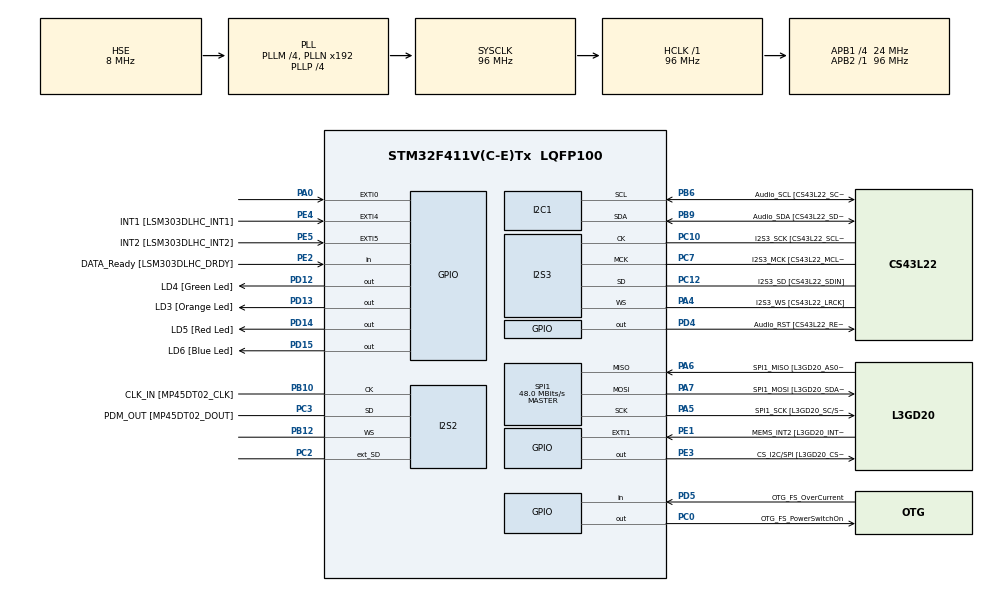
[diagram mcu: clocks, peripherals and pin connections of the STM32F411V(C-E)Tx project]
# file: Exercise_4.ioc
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FREERTOS.INCLUDE_vTaskDelayUntil=1
FREERTOS.Tasks01=Blue_Green_Task,1,128,Start_Blue_Green_Task,Default,NULL,Dynamic,NULL,NULL;Orange_Red_Task,0,128,Start_Orange_Red_Task,Default,NULL,Dynamic,NULL,NULL
I2S2.AudioFreq=I2S_AUDIOFREQ_96K
I2S2.ErrorAudioFreq=0.15 %
I2S2.FullDuplexMode=I2S_FULLDUPLEXMODE_ENABLE
I2S2.Instance=SPI$Index
I2S2.RealAudioFreq=96.153 KHz
I2S2.VirtualMode=I2S_MODE_MASTER
I2S3.AudioFreq=I2S_AUDIOFREQ_96K
I2S3.ErrorAudioFreq=-6.99 %
I2S3.FullDuplexMode=I2S_FULLDUPLEXMODE_DISABLE
I2S3.Instance=SPI$Index
I2S3.RealAudioFreq=89.285 KHz
I2S3.VirtualMode=I2S_MODE_MASTER
Mcu.Family=STM32F4
Mcu.Name=STM32F411V(C-E)Tx
Mcu.Package=LQFP100
NVIC.PriorityGroup=NVIC_PRIORITYGROUP_4
NVIC.TIM1_UP_TIM10_IRQn=true\:0\:0\:false\:false\:true\:false\:false\:true
NVIC.TimeBase=TIM1_UP_TIM10_IRQn
NVIC.TimeBaseIP=TIM1
PA0-WKUP.GPIO_ModeDefaultEXTI=GPIO_MODE_EVT_RISING
PA0-WKUP.Signal=GPXTI0
PA10.GPIO_Label=OTG_FS_ID
PA10.Signal=USB_OTG_FS_ID
PA11.GPIO_Label=OTG_FS_DM
PA11.Signal=USB_OTG_FS_DM
PA12.GPIO_Label=OTG_FS_DP
PA12.Signal=USB_OTG_FS_DP
PA13.GPIO_Label=SWDIO
PA13.Mode=Serial_Wire
PA13.Signal=SYS_JTMS-SWDIO
PA14.GPIO_Label=SWCLK
PA14.Mode=Serial_Wire
PA14.Signal=SYS_JTCK-SWCLK
PA4.GPIO_Label=I2S3_WS [CS43L22_LRCK]
PA4.GPIO_Mode=GPIO_MODE_AF_PP
PA4.GPIO_PuPd=GPIO_NOPULL
PA4.GPIO_Speed=GPIO_SPEED_FREQ_LOW
PA4.Mode=Half_Duplex_Master
PA4.Signal=I2S3_WS
PA5.GPIO_Label=SPI1_SCK [L3GD20_SC/SPC]
PA5.Mode=Full_Duplex_Master
PA5.Signal=SPI1_SCK
PA6.GPIO_Label=SPI1_MISO [L3GD20_AS0/SDO]
PA6.Mode=Full_Duplex_Master
PA6.Signal=SPI1_MISO
PA7.GPIO_Label=SPI1_MOSI [L3GD20_SDA/SDI/SDO]
PA7.Mode=Full_Duplex_Master
PA7.Signal=SPI1_MOSI
PA9.GPIO_Label=VBUS_FS
PA9.Signal=USB_OTG_FS_VBUS
PB10.GPIO_Label=CLK_IN [MP45DT02_CLK]
PB10.Mode=Full_Duplex_Master
PB10.Signal=I2S2_CK
PB12.Mode=Full_Duplex_Master
PB12.Signal=I2S2_WS
PB3.GPIO_Label=SWO
PB3.Signal=SYS_JTDO-SWO
PB6.GPIO_Label=Audio_SCL [CS43L22_SCL]
PB6.GPIO_Mode=GPIO_MODE_AF_OD
PB6.GPIO_PuPd=GPIO_NOPULL
PB6.GPIO_Speed=GPIO_SPEED_FREQ_LOW
PB6.Mode=I2C
PB6.Signal=I2C1_SCL
PB9.GPIO_Label=Audio_SDA [CS43L22_SDA]
PB9.GPIO_Mode=GPIO_MODE_AF_OD
PB9.GPIO_PuPd=GPIO_NOPULL
PB9.GPIO_Speed=GPIO_SPEED_FREQ_LOW
PB9.Mode=I2C
PB9.Signal=I2C1_SDA
PC0.GPIO_Label=OTG_FS_PowerSwitchOn
PC0.PinState=GPIO_PIN_SET
PC0.Signal=GPIO_Output
PC10.GPIO_Label=I2S3_SCK [CS43L22_SCLK]
PC10.GPIO_Mode=GPIO_MODE_AF_PP
PC10.GPIO_PuPd=GPIO_NOPULL
PC10.GPIO_Speed=GPIO_SPEED_FREQ_LOW
PC10.Mode=Half_Duplex_Master
PC10.Signal=I2S3_CK
PC12.GPIO_Label=I2S3_SD [CS43L22_SDIN]
PC12.GPIO_Mode=GPIO_MODE_AF_PP
PC12.GPIO_PuPd=GPIO_NOPULL
PC12.GPIO_Speed=GPIO_SPEED_FREQ_LOW
PC12.Mode=Half_Duplex_Master
PC12.Signal=I2S3_SD
PC14-OSC32_IN.GPIO_Label=PC14-OSC32_IN
PC14-OSC32_IN.Mode=LSE-External-Oscillator
PC14-OSC32_IN.Signal=RCC_OSC32_IN
PC15-OSC32_OUT.GPIO_Label=PC15-OSC32_OUT
PC15-OSC32_OUT.Mode=LSE-External-Oscillator
PC15-OSC32_OUT.Signal=RCC_OSC32_OUT
PC2.Mode=Full_Duplex_Master
PC2.Signal=I2S2_ext_SD
PC3.GPIO_Label=PDM_OUT [MP45DT02_DOUT]
PC3.Mode=Full_Duplex_Master
PC3.Signal=I2S2_SD
PC7.GPIO_Label=I2S3_MCK [CS43L22_MCLK]
PC7.GPIO_Mode=GPIO_MODE_AF_PP
PC7.GPIO_PuPd=GPIO_NOPULL
PC7.GPIO_Speed=GPIO_SPEED_FREQ_LOW
PC7.Mode=Master_Clock_Activated
PC7.Signal=I2S3_MCK
PD12.GPIO_Label=LD4 [Green Led]
PD12.GPIO_PuPd=GPIO_NOPULL
PD12.GPIO_Speed=GPIO_SPEED_FREQ_LOW
PD12.Signal=GPIO_Output
PD13.GPIO_Label=LD3 [Orange Led]
PD13.GPIO_PuPd=GPIO_NOPULL
PD13.GPIO_Speed=GPIO_SPEED_FREQ_LOW
PD13.Signal=GPIO_Output
PD14.GPIO_Label=LD5 [Red Led]
PD14.GPIO_PuPd=GPIO_NOPULL
PD14.GPIO_Speed=GPIO_SPEED_FREQ_LOW
PD14.Signal=GPIO_Output
PD15.GPIO_Label=LD6 [Blue Led]
PD15.GPIO_PuPd=GPIO_NOPULL
PD15.GPIO_Speed=GPIO_SPEED_FREQ_LOW
PD15.Signal=GPIO_Output
PD4.GPIO_Label=Audio_RST [CS43L22_RESET]
PD4.Signal=GPIO_Output
PD5.GPIO_Label=OTG_FS_OverCurrent
PD5.Signal=GPIO_Input
PE1.GPIO_Label=MEMS_INT2 [L3GD20_INT2]
PE1.GPIO_ModeDefaultEXTI=GPIO_MODE_EVT_RISING
PE1.Signal=GPXTI1
PE2.GPIO_Label=DATA_Ready [LSM303DLHC_DRDY]
PE2.Signal=GPIO_Input
PE3.GPIO_Label=CS_I2C/SPI [L3GD20_CS_I2C/SPI]
PE3.Signal=GPIO_Output
PE4.GPIO_Label=INT1 [LSM303DLHC_INT1]
PE4.GPIO_ModeDefaultEXTI=GPIO_MODE_EVT_RISING
PE4.Signal=GPXTI4
PE5.GPIO_Label=INT2 [LSM303DLHC_INT2]
PE5.GPIO_ModeDefaultEXTI=GPIO_MODE_EVT_RISING
PE5.Signal=GPXTI5
PH0\ -\ OSC_IN.GPIO_Label=PH0-OSC_IN
PH0\ -\ OSC_IN.Mode=HSE-External-Clock-Source
PH0\ -\ OSC_IN.Signal=RCC_OSC_IN
PH1\ -\ OSC_OUT.GPIO_Label=PH1-OSC_OUT
PH1\ -\ OSC_OUT.Mode=HSE-External-Clock-Source
PH1\ -\ OSC_OUT.Signal=RCC_OSC_OUT
ProjectManager.HeapSize=0x200
ProjectManager.StackSize=0x400
ProjectManager.TargetToolchain=STM32CubeIDE
RCC.48MHZClocksFreq_Value=48000000
RCC.AHBFreq_Value=96000000
RCC.APB1CLKDivider=RCC_HCLK_DIV4
RCC.APB1Freq_Value=24000000
RCC.APB1TimFreq_Value=48000000
RCC.APB2Freq_Value=96000000
RCC.APB2TimFreq_Value=96000000
RCC.CortexFreq_Value=96000000
RCC.HCLKFreq_Value=96000000
RCC.HSE_VALUE=8000000
RCC.HSI_VALUE=16000000
RCC.PLLI2SM=5
RCC.PLLI2SN=200
RCC.PLLM=4
RCC.PLLP=RCC_PLLP_DIV4
RCC.PLLQ=8
RCC.PLLSourceVirtual=RCC_PLLSOURCE_HSE
RCC.SYSCLKFreq_VALUE=96000000
RCC.SYSCLKSource=RCC_SYSCLKSOURCE_PLLCLK
RCC.VCOOutputFreq_Value=384000000
SPI1.BaudRatePrescaler=SPI_BAUDRATEPRESCALER_2
SPI1.CalculateBaudRate=48.0 MBits/s
SPI1.Direction=SPI_DIRECTION_2LINES
SPI1.Mode=SPI_MODE_MASTER
SPI1.VirtualType=VM_MASTER
VP_FREERTOS_VS_CMSIS_V1.Mode=CMSIS_V1
VP_SYS_VS_tim1.Mode=TIM1
board=STM32F411E-DISCO

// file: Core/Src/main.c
/* USER CODE BEGIN Header */
/**
  ******************************************************************************
  * @file           : main.c
  * @brief          : Main program body
  ******************************************************************************
  * @attention
  *
  * <h2><center>&copy; Copyright (c) 2023 STMicroelectronics.
  * All rights reserved.</center></h2>
  *
  * This software component is licensed by ST under Ultimate Liberty license
  * SLA0044, the "License"; You may not use this file except in compliance with
  * the License. You may obtain a copy of the License at:
  *                             www.st.com/SLA0044
  *
  ******************************************************************************
  */
/* USER CODE END Header */

#include "main.h"
#include "cmsis_os.h"

/* USER CODE BEGIN PD */
#define green GPIO_PIN_12
#define orange GPIO_PIN_13
#define red GPIO_PIN_14
#define blue GPIO_PIN_15
/* USER CODE END PD */

I2C_HandleTypeDef hi2c1;

I2S_HandleTypeDef hi2s2;
I2S_HandleTypeDef hi2s3;

SPI_HandleTypeDef hspi1;

osThreadId Blue_Green_TaskHandle;
osThreadId Orange_Red_TaskHandle;

void SystemClock_Config(void);
static void MX_GPIO_Init(void);
static void MX_I2C1_Init(void);
static void MX_I2S2_Init(void);
static void MX_I2S3_Init(void);
static void MX_SPI1_Init(void);
void Start_Blue_Green_Task(void const * argument);
void Start_Orange_Red_Task(void const * argument);

int main(void)
{

  /* MCU Configuration--------------------------------------------------------*/

  /* Reset of all peripherals, Initializes the Flash interface and the Systick. */
  HAL_Init();

  /* Configure the system clock */
  SystemClock_Config();

  /* Initialize all configured peripherals */
  MX_GPIO_Init();
  MX_I2C1_Init();
  MX_I2S2_Init();
  MX_I2S3_Init();
  MX_SPI1_Init();

  /* Create the thread(s) */
  /* definition and creation of Blue_Green_Task */
  osThreadDef(Blue_Green_Task, Start_Blue_Green_Task, osPriorityAboveNormal, 0, 128);
  Blue_Green_TaskHandle = osThreadCreate(osThread(Blue_Green_Task), NULL);

  /* definition and creation of Orange_Red_Task */
  osThreadDef(Orange_Red_Task, Start_Orange_Red_Task, osPriorityNormal, 0, 128);
  Orange_Red_TaskHandle = osThreadCreate(osThread(Orange_Red_Task), NULL);

  /* Start scheduler */
  osKernelStart();

  /* We should never get here as control is now taken by the scheduler */

  /* Infinite loop */
  while (1)
  {

  }
}

void SystemClock_Config(void)
{
  RCC_OscInitTypeDef RCC_OscInitStruct = {0};
  RCC_ClkInitTypeDef RCC_ClkInitStruct = {0};
  RCC_PeriphCLKInitTypeDef PeriphClkInitStruct = {0};

  /** Configure the main internal regulator output voltage
  */
  __HAL_RCC_PWR_CLK_ENABLE();
  __HAL_PWR_VOLTAGESCALING_CONFIG(PWR_REGULATOR_VOLTAGE_SCALE1);
  /** Initializes the CPU, AHB and APB busses clocks
  */
  RCC_OscInitStruct.OscillatorType = RCC_OSCILLATORTYPE_HSE;
  RCC_OscInitStruct.HSEState = RCC_HSE_BYPASS;
  RCC_OscInitStruct.PLL.PLLState = RCC_PLL_ON;
  RCC_OscInitStruct.PLL.PLLSource = RCC_PLLSOURCE_HSE;
  RCC_OscInitStruct.PLL.PLLM = 4;
  RCC_OscInitStruct.PLL.PLLN = 192;
  RCC_OscInitStruct.PLL.PLLP = RCC_PLLP_DIV4;
  RCC_OscInitStruct.PLL.PLLQ = 8;
  if (HAL_RCC_OscConfig(&RCC_OscInitStruct) != HAL_OK)
  {
    Error_Handler();
  }
  /** Initializes the CPU, AHB and APB busses clocks
  */
  RCC_ClkInitStruct.ClockType = RCC_CLOCKTYPE_HCLK|RCC_CLOCKTYPE_SYSCLK
                              |RCC_CLOCKTYPE_PCLK1|RCC_CLOCKTYPE_PCLK2;
  RCC_ClkInitStruct.SYSCLKSource = RCC_SYSCLKSOURCE_PLLCLK;
  RCC_ClkInitStruct.AHBCLKDivider = RCC_SYSCLK_DIV1;
  RCC_ClkInitStruct.APB1CLKDivider = RCC_HCLK_DIV4;
  RCC_ClkInitStruct.APB2CLKDivider = RCC_HCLK_DIV1;

  if (HAL_RCC_ClockConfig(&RCC_ClkInitStruct, FLASH_LATENCY_3) != HAL_OK)
  {
    Error_Handler();
  }
  PeriphClkInitStruct.PeriphClockSelection = RCC_PERIPHCLK_I2S;
  PeriphClkInitStruct.PLLI2S.PLLI2SN = 200;
  PeriphClkInitStruct.PLLI2S.PLLI2SM = 5;
  PeriphClkInitStruct.PLLI2S.PLLI2SR = 2;
  if (HAL_RCCEx_PeriphCLKConfig(&PeriphClkInitStruct) != HAL_OK)
  {
    Error_Handler();
  }
}

static void MX_I2C1_Init(void)
{

  hi2c1.Instance = I2C1;
  hi2c1.Init.ClockSpeed = 100000;
  hi2c1.Init.DutyCycle = I2C_DUTYCYCLE_2;
  hi2c1.Init.OwnAddress1 = 0;
  hi2c1.Init.AddressingMode = I2C_ADDRESSINGMODE_7BIT;
  hi2c1.Init.DualAddressMode = I2C_DUALADDRESS_DISABLE;
  hi2c1.Init.OwnAddress2 = 0;
  hi2c1.Init.GeneralCallMode = I2C_GENERALCALL_DISABLE;
  hi2c1.Init.NoStretchMode = I2C_NOSTRETCH_DISABLE;
  if (HAL_I2C_Init(&hi2c1) != HAL_OK)
  {
    Error_Handler();
  }

}

static void MX_I2S2_Init(void)
{

  hi2s2.Instance = SPI2;
  hi2s2.Init.Mode = I2S_MODE_MASTER_TX;
  hi2s2.Init.Standard = I2S_STANDARD_PHILIPS;
  hi2s2.Init.DataFormat = I2S_DATAFORMAT_16B;
  hi2s2.Init.MCLKOutput = I2S_MCLKOUTPUT_DISABLE;
  hi2s2.Init.AudioFreq = I2S_AUDIOFREQ_96K;
  hi2s2.Init.CPOL = I2S_CPOL_LOW;
  hi2s2.Init.ClockSource = I2S_CLOCK_PLL;
  hi2s2.Init.FullDuplexMode = I2S_FULLDUPLEXMODE_ENABLE;
  if (HAL_I2S_Init(&hi2s2) != HAL_OK)
  {
    Error_Handler();
  }

}

static void MX_I2S3_Init(void)
{

  hi2s3.Instance = SPI3;
  hi2s3.Init.Mode = I2S_MODE_MASTER_TX;
  hi2s3.Init.Standard = I2S_STANDARD_PHILIPS;
  hi2s3.Init.DataFormat = I2S_DATAFORMAT_16B;
  hi2s3.Init.MCLKOutput = I2S_MCLKOUTPUT_ENABLE;
  hi2s3.Init.AudioFreq = I2S_AUDIOFREQ_96K;
  hi2s3.Init.CPOL = I2S_CPOL_LOW;
  hi2s3.Init.ClockSource = I2S_CLOCK_PLL;
  hi2s3.Init.FullDuplexMode = I2S_FULLDUPLEXMODE_DISABLE;
  if (HAL_I2S_Init(&hi2s3) != HAL_OK)
  {
    Error_Handler();
  }

}

static void MX_SPI1_Init(void)
{

  /* SPI1 parameter configuration*/
  hspi1.Instance = SPI1;
  hspi1.Init.Mode = SPI_MODE_MASTER;
  hspi1.Init.Direction = SPI_DIRECTION_2LINES;
  hspi1.Init.DataSize = SPI_DATASIZE_8BIT;
  hspi1.Init.CLKPolarity = SPI_POLARITY_LOW;
  hspi1.Init.CLKPhase = SPI_PHASE_1EDGE;
  hspi1.Init.NSS = SPI_NSS_SOFT;
  hspi1.Init.BaudRatePrescaler = SPI_BAUDRATEPRESCALER_2;
  hspi1.Init.FirstBit = SPI_FIRSTBIT_MSB;
  hspi1.Init.TIMode = SPI_TIMODE_DISABLE;
  hspi1.Init.CRCCalculation = SPI_CRCCALCULATION_DISABLE;
  hspi1.Init.CRCPolynomial = 10;
  if (HAL_SPI_Init(&hspi1) != HAL_OK)
  {
    Error_Handler();
  }

}

static void MX_GPIO_Init(void)
{
  GPIO_InitTypeDef GPIO_InitStruct = {0};

  /* GPIO Ports Clock Enable */
  __HAL_RCC_GPIOE_CLK_ENABLE();
  __HAL_RCC_GPIOC_CLK_ENABLE();
  __HAL_RCC_GPIOH_CLK_ENABLE();
  __HAL_RCC_GPIOA_CLK_ENABLE();
  __HAL_RCC_GPIOB_CLK_ENABLE();
  __HAL_RCC_GPIOD_CLK_ENABLE();

  /*Configure GPIO pin Output Level */
  HAL_GPIO_WritePin(CS_I2C_SPI_GPIO_Port, CS_I2C_SPI_Pin, GPIO_PIN_RESET);

  /*Configure GPIO pin Output Level */
  HAL_GPIO_WritePin(OTG_FS_PowerSwitchOn_GPIO_Port, OTG_FS_PowerSwitchOn_Pin, GPIO_PIN_SET);

  /*Configure GPIO pin Output Level */
  HAL_GPIO_WritePin(GPIOD, LD4_Pin|LD3_Pin|LD5_Pin|LD6_Pin
                          |Audio_RST_Pin, GPIO_PIN_RESET);

  /*Configure GPIO pin : DATA_Ready_Pin */
  GPIO_InitStruct.Pin = DATA_Ready_Pin;
  GPIO_InitStruct.Mode = GPIO_MODE_INPUT;
  GPIO_InitStruct.Pull = GPIO_NOPULL;
  HAL_GPIO_Init(DATA_Ready_GPIO_Port, &GPIO_InitStruct);

  /*Configure GPIO pin : CS_I2C_SPI_Pin */
  GPIO_InitStruct.Pin = CS_I2C_SPI_Pin;
  GPIO_InitStruct.Mode = GPIO_MODE_OUTPUT_PP;
  GPIO_InitStruct.Pull = GPIO_NOPULL;
  GPIO_InitStruct.Speed = GPIO_SPEED_FREQ_LOW;
  HAL_GPIO_Init(CS_I2C_SPI_GPIO_Port, &GPIO_InitStruct);

  /*Configure GPIO pins : INT1_Pin INT2_Pin MEMS_INT2_Pin */
  GPIO_InitStruct.Pin = INT1_Pin|INT2_Pin|MEMS_INT2_Pin;
  GPIO_InitStruct.Mode = GPIO_MODE_EVT_RISING;
  GPIO_InitStruct.Pull = GPIO_NOPULL;
  HAL_GPIO_Init(GPIOE, &GPIO_InitStruct);

  /*Configure GPIO pin : OTG_FS_PowerSwitchOn_Pin */
  GPIO_InitStruct.Pin = OTG_FS_PowerSwitchOn_Pin;
  GPIO_InitStruct.Mode = GPIO_MODE_OUTPUT_PP;
  GPIO_InitStruct.Pull = GPIO_NOPULL;
  GPIO_InitStruct.Speed = GPIO_SPEED_FREQ_LOW;
  HAL_GPIO_Init(OTG_FS_PowerSwitchOn_GPIO_Port, &GPIO_InitStruct);

  /*Configure GPIO pin : PA0 */
  GPIO_InitStruct.Pin = GPIO_PIN_0;
  GPIO_InitStruct.Mode = GPIO_MODE_EVT_RISING;
  GPIO_InitStruct.Pull = GPIO_NOPULL;
  HAL_GPIO_Init(GPIOA, &GPIO_InitStruct);

  /*Configure GPIO pins : LD4_Pin LD3_Pin LD5_Pin LD6_Pin
                           Audio_RST_Pin */
  GPIO_InitStruct.Pin = LD4_Pin|LD3_Pin|LD5_Pin|LD6_Pin
                          |Audio_RST_Pin;
  GPIO_InitStruct.Mode = GPIO_MODE_OUTPUT_PP;
  GPIO_InitStruct.Pull = GPIO_NOPULL;
  GPIO_InitStruct.Speed = GPIO_SPEED_FREQ_LOW;
  HAL_GPIO_Init(GPIOD, &GPIO_InitStruct);

  /*Configure GPIO pin : VBUS_FS_Pin */
  GPIO_InitStruct.Pin = VBUS_FS_Pin;
  GPIO_InitStruct.Mode = GPIO_MODE_INPUT;
  GPIO_InitStruct.Pull = GPIO_NOPULL;
  HAL_GPIO_Init(VBUS_FS_GPIO_Port, &GPIO_InitStruct);

  /*Configure GPIO pins : OTG_FS_ID_Pin OTG_FS_DM_Pin OTG_FS_DP_Pin */
  GPIO_InitStruct.Pin = OTG_FS_ID_Pin|OTG_FS_DM_Pin|OTG_FS_DP_Pin;
  GPIO_InitStruct.Mode = GPIO_MODE_AF_PP;
  GPIO_InitStruct.Pull = GPIO_NOPULL;
  GPIO_InitStruct.Speed = GPIO_SPEED_FREQ_VERY_HIGH;
  GPIO_InitStruct.Alternate = GPIO_AF10_OTG_FS;
  HAL_GPIO_Init(GPIOA, &GPIO_InitStruct);

  /*Configure GPIO pin : OTG_FS_OverCurrent_Pin */
  GPIO_InitStruct.Pin = OTG_FS_OverCurrent_Pin;
  GPIO_InitStruct.Mode = GPIO_MODE_INPUT;
  GPIO_InitStruct.Pull = GPIO_NOPULL;
  HAL_GPIO_Init(OTG_FS_OverCurrent_GPIO_Port, &GPIO_InitStruct);

}

void Start_Blue_Green_Task(void const * argument)
{
  /* USER CODE BEGIN 5 */
  /* Infinite loop */
  for(;;)
  {
	  HAL_GPIO_WritePin(GPIOD, blue, GPIO_PIN_SET);
	  for(int i = 0; i <= 40; i++)
    {
    	HAL_GPIO_TogglePin(GPIOD, green);
    	for(int i = 0; i < 100000; i++);
    }
    HAL_GPIO_WritePin(GPIOD, blue, GPIO_PIN_RESET);
    HAL_GPIO_WritePin(GPIOD, green, GPIO_PIN_RESET);
    osDelay(6000);
  }
  /* USER CODE END 5 */
}

void Start_Orange_Red_Task(void const * argument)
{
  /* USER CODE BEGIN Start_Orange_Red_Task */
  /* Infinite loop */
  for(;;)
  {
	  HAL_GPIO_WritePin(GPIOD, orange, GPIO_PIN_SET);
	  for(int i = 0; i <= 5; i++)
	  {
		  HAL_GPIO_TogglePin(GPIOD, red);
	      for(int i = 0; i < 100000; i++);
	  }
	  HAL_GPIO_WritePin(GPIOD, red, GPIO_PIN_RESET);
	  HAL_GPIO_WritePin(GPIOD, orange, GPIO_PIN_RESET);
	  osDelay(1500);
  }
  /* USER CODE END Start_Orange_Red_Task */
}

void HAL_TIM_PeriodElapsedCallback(TIM_HandleTypeDef *htim)
{
  if (htim->Instance == TIM1) {
    HAL_IncTick();
  }
}

void Error_Handler(void)
{
}

/************************ (C) COPYRIGHT STMicroelectronics *****END OF FILE****/
